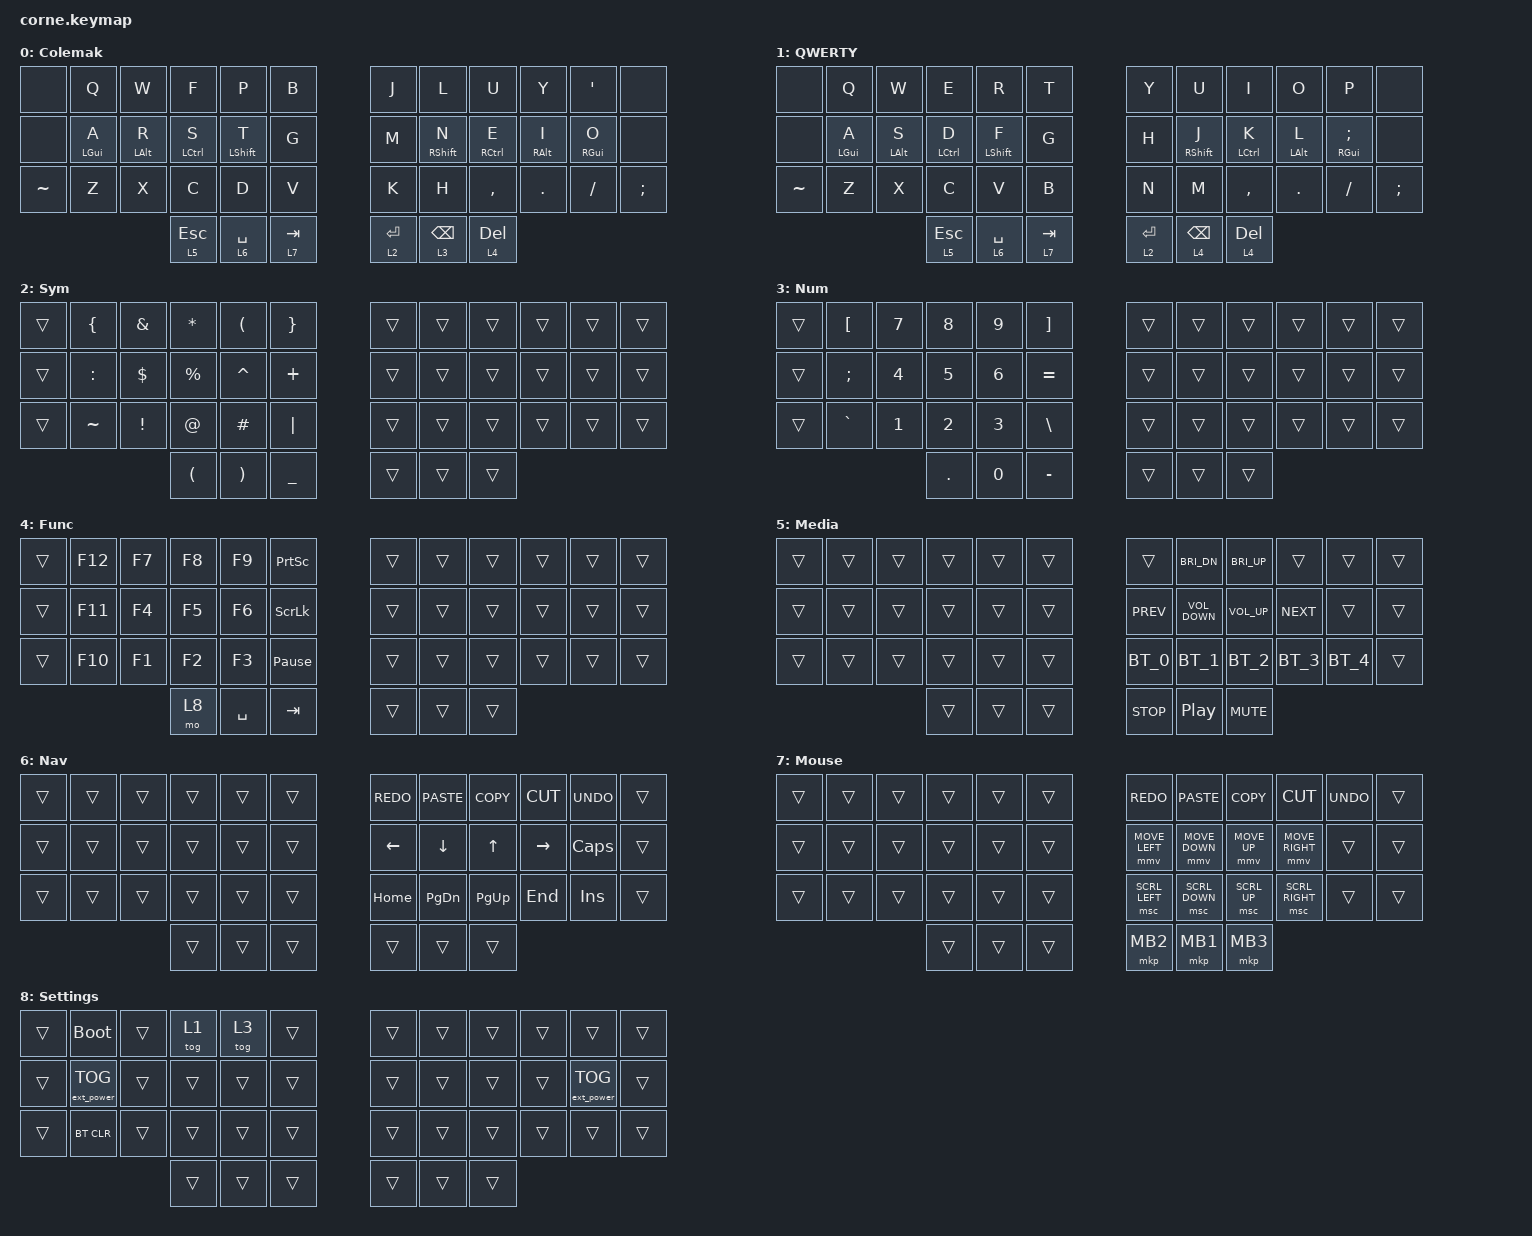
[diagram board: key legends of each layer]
/*
 * Copyright (c) 2020 The ZMK Contributors
 *
 * SPDX-License-Identifier: MIT
 */

#include <behaviors.dtsi>
#include <dt-bindings/zmk/bt.h>
#include <dt-bindings/zmk/ext_power.h>
#include <dt-bindings/zmk/keys.h>
#include <dt-bindings/zmk/pointing.h>

/ {
    behaviors {
        HMR: HMR {
            compatible = "zmk,behavior-hold-tap";
            label = "HMR";
            bindings = <&kp>, <&kp>;

            #binding-cells = <2>;
            tapping-term-ms = <200>;
            quick-tap-ms = <175>;
            flavor = "balanced";
            hold-trigger-on-release;
            hold-trigger-key-positions = <2 1 0 12 24 13 25 14 26 15 27 3 4 5 15 16 17 27 28 29 36 37 38 39 40 41>;
        };

        HML: HML {
            compatible = "zmk,behavior-hold-tap";
            label = "HML";
            bindings = <&kp>, <&kp>;

            #binding-cells = <2>;
            tapping-term-ms = <200>;
            quick-tap-ms = <175>;
            flavor = "balanced";
            hold-trigger-key-positions = <35 6 7 8 9 10 11 18 19 20 21 22 23 30 31 32 33 34 35 39 41 40 38 37 36>;
            hold-trigger-on-release;
        };

        BT_0: BT_0 {
            compatible = "zmk,behavior-mod-morph";
            label = "BT_0";
            bindings = <&bt BT_SEL 0>, <&bt BT_DISC 0>;

            #binding-cells = <0>;
            mods = <(MOD_LSFT|MOD_RSFT)>;
        };

        BT_1: BT_1 {
            compatible = "zmk,behavior-mod-morph";
            label = "BT_1";
            bindings = <&bt BT_SEL 1>, <&bt BT_DISC 1>;

            #binding-cells = <0>;
            mods = <(MOD_LSFT|MOD_RSFT)>;
        };

        BT_2: BT_2 {
            compatible = "zmk,behavior-mod-morph";
            label = "BT_2";
            bindings = <&bt BT_SEL 2>, <&bt BT_DISC 2>;

            #binding-cells = <0>;
            mods = <(MOD_LSFT|MOD_RSFT)>;
        };

        BT_3: BT_3 {
            compatible = "zmk,behavior-mod-morph";
            label = "BT_3";
            bindings = <&bt BT_SEL 3>, <&bt BT_DISC 3>;

            #binding-cells = <0>;
            mods = <(MOD_LSFT|MOD_RSFT)>;
        };

        BT_4: BT_4 {
            compatible = "zmk,behavior-mod-morph";
            label = "BT_4";
            bindings = <&bt BT_SEL 4>, <&bt BT_DISC 4>;

            #binding-cells = <0>;
            mods = <(MOD_LSFT|MOD_RSFT)>;
        };
    };

    keymap {
        compatible = "zmk,keymap";

        Colemak_BaseLayer {
            // -----------------------------------------------------------------------------------------
            // |  TAB |  Q  |  W  |  E  |  R  |  T  |   |  Y  |  U   |  I  |  O  |  P  | BKSP |
            // | CTRL |  A  |  S  |  D  |  F  |  G  |   |  H  |  J   |  K  |  L  |  ;  |  '   |
            // | SHFT |  Z  |  X  |  C  |  V  |  B  |   |  N  |  M   |  ,  |  .  |  /  | ESC  |
            //                    | GUI | LWR | SPC |   | ENT | RSE  | ALT |

            display-name = "Colemak";
            bindings = <
&none      &kp Q        &kp W        &kp F         &kp P         &kp B        &kp J      &kp L         &kp U         &kp Y        &kp SQT      &none
&none      &HML LGUI A  &HML LALT R  &HML LCTRL S  &HML LSHFT T  &kp G        &kp M      &HMR RSHFT N  &HMR RCTRL E  &HMR RALT I  &HMR RGUI O  &none
&kp TILDE  &kp Z        &kp X        &kp C         &kp D         &kp V        &kp K      &kp H         &kp COMMA     &kp DOT      &kp FSLH     &kp SEMI
                                     &lt 5 ESC     &lt 6 SPACE   &lt 7 TAB    &lt 2 RET  &lt 3 BSPC    &lt 4 DEL
            >;
        };

        QWERTY_BaseLayer {
            display-name = "QWERTY";
            bindings = <
&none      &kp Q        &kp W        &kp E         &kp R         &kp T        &kp Y      &kp U         &kp I         &kp O        &kp P                &none
&none      &HML LGUI A  &HML LALT S  &HML LCTRL D  &HML LSHFT F  &kp G        &kp H      &HML RSHFT J  &HML LCTRL K  &HML LALT L  &HML RGUI SEMICOLON  &none
&kp TILDE  &kp Z        &kp X        &kp C         &kp V         &kp B        &kp N      &kp M         &kp COMMA     &kp DOT      &kp FSLH             &kp SEMI
                                     &lt 5 ESC     &lt 6 SPACE   &lt 7 TAB    &lt 2 RET  &lt 4 BSPC    &lt 4 DEL
            >;
        };

        Sym {
            display-name = "Sym";
            bindings = <
&trans  &kp LEFT_BRACE  &kp AMPERSAND  &kp ASTERISK  &kp LEFT_PARENTHESIS  &kp RIGHT_BRACE    &trans  &trans  &trans  &trans  &trans  &trans
&trans  &kp COLON       &kp DLLR       &kp PRCNT     &kp CARET             &kp PLUS           &trans  &trans  &trans  &trans  &trans  &trans
&trans  &kp TILDE       &kp EXCL       &kp AT        &kp HASH              &kp PIPE           &trans  &trans  &trans  &trans  &trans  &trans
                                       &kp LPAR      &kp RPAR              &kp UNDERSCORE     &trans  &trans  &trans
            >;
        };

        Num {
            // -----------------------------------------------------------------------------------------
            // |  TAB |  1  |  2  |  3  |  4  |  5  |   |  6  |  7  |  8  |  9  |  0  | BKSP |
            // | BTCLR| BT1 | BT2 | BT3 | BT4 | BT5 |   | LFT | DWN |  UP | RGT |     |      |
            // | SHFT |     |     |     |     |     |   |     |     |     |     |     |      |
            //                    | GUI |     | SPC |   | ENT |     | ALT |

            display-name = "Num";
            bindings = <
&trans  &kp LEFT_BRACKET  &kp N7  &kp N8   &kp N9  &kp RIGHT_BRACKET    &trans  &trans  &trans  &trans  &trans  &trans
&trans  &kp SEMI          &kp N4  &kp N5   &kp N6  &kp EQUAL            &trans  &trans  &trans  &trans  &trans  &trans
&trans  &kp GRAVE         &kp N1  &kp N2   &kp N3  &kp BSLH             &trans  &trans  &trans  &trans  &trans  &trans
                                  &kp DOT  &kp N0  &kp MINUS            &trans  &trans  &trans
            >;
        };

        Func {
            display-name = "Func";
            bindings = <
&trans  &kp F12  &kp F7  &kp F8  &kp F9     &kp PRINTSCREEN    &trans  &trans  &trans  &trans  &trans  &trans
&trans  &kp F11  &kp F4  &kp F5  &kp F6     &kp SCROLLLOCK     &trans  &trans  &trans  &trans  &trans  &trans
&trans  &kp F10  &kp F1  &kp F2  &kp F3     &kp PAUSE_BREAK    &trans  &trans  &trans  &trans  &trans  &trans
                         &mo 8   &kp SPACE  &kp TAB            &trans  &trans  &trans
            >;
        };

        Media {
            display-name = "Media";
            bindings = <
&trans  &trans  &trans  &trans  &trans  &trans    &trans      &kp C_BRI_DN       &kp C_BRI_UP     &trans      &trans  &trans
&trans  &trans  &trans  &trans  &trans  &trans    &kp C_PREV  &kp C_VOLUME_DOWN  &kp C_VOLUME_UP  &kp C_NEXT  &trans  &trans
&trans  &trans  &trans  &trans  &trans  &trans    &BT_0       &BT_1              &BT_2            &BT_3       &BT_4   &trans
                        &trans  &trans  &trans    &kp C_STOP  &kp C_PLAY_PAUSE   &kp K_MUTE
            >;
        };

        Nav {
            display-name = "Nav";
            bindings = <
&trans  &trans  &trans  &trans  &trans  &trans    &kp K_REDO  &kp K_PASTE  &kp K_COPY  &kp K_CUT  &kp K_UNDO  &trans
&trans  &trans  &trans  &trans  &trans  &trans    &kp LEFT    &kp DOWN     &kp UP      &kp RIGHT  &kp CAPS    &trans
&trans  &trans  &trans  &trans  &trans  &trans    &kp HOME    &kp PG_DN    &kp PG_UP   &kp END    &kp INSERT  &trans
                        &trans  &trans  &trans    &trans      &trans       &trans
            >;
        };

        Mouse {
            display-name = "Mouse";
            bindings = <
&trans  &trans  &trans  &trans  &trans  &trans    &kp K_REDO      &kp K_PASTE     &kp K_COPY    &kp K_CUT        &kp K_UNDO  &trans
&trans  &trans  &trans  &trans  &trans  &trans    &mmv MOVE_LEFT  &mmv MOVE_DOWN  &mmv MOVE_UP  &mmv MOVE_RIGHT  &trans      &trans
&trans  &trans  &trans  &trans  &trans  &trans    &msc SCRL_LEFT  &msc SCRL_DOWN  &msc SCRL_UP  &msc SCRL_RIGHT  &trans      &trans
                        &trans  &trans  &trans    &mkp MB2        &mkp MB1        &mkp MB3
            >;
        };

        Adjust {
            display-name = "Settings";
            bindings = <
&trans  &bootloader        &trans  &tog 1  &tog 3  &trans    &trans  &trans  &trans  &trans  &trans             &trans
&trans  &ext_power EP_TOG  &trans  &trans  &trans  &trans    &trans  &trans  &trans  &trans  &ext_power EP_TOG  &trans
&trans  &bt BT_CLR         &trans  &trans  &trans  &trans    &trans  &trans  &trans  &trans  &trans             &trans
                                   &trans  &trans  &trans    &trans  &trans  &trans
            >;
        };
    };
};
